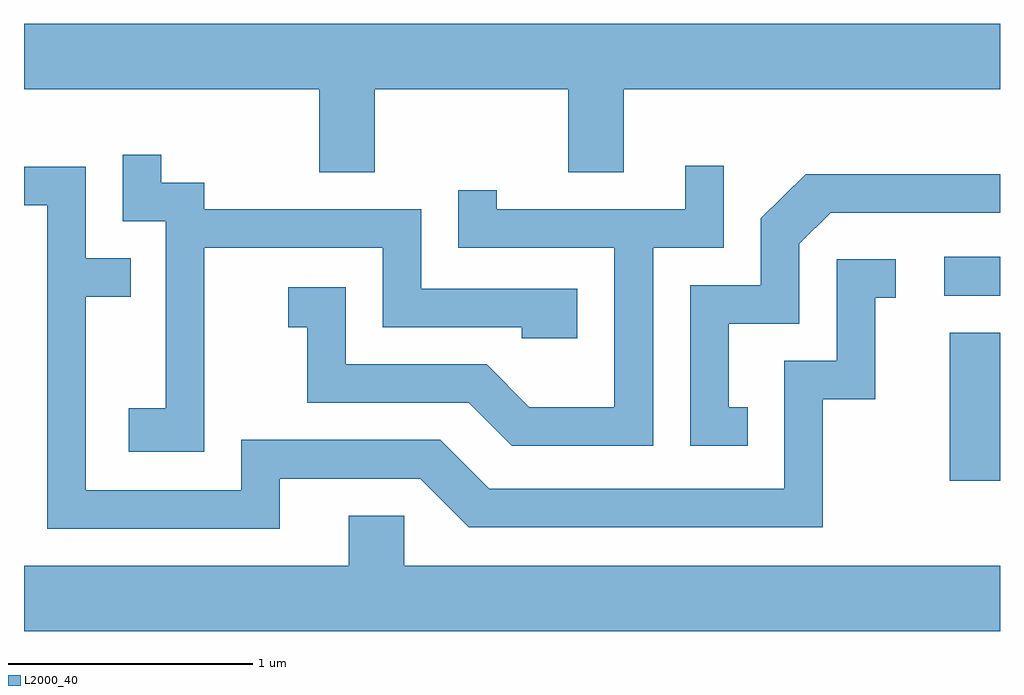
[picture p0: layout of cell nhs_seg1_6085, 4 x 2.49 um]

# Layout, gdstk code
import gdstk
lib = gdstk.Library(unit=1e-6, precision=1e-09)
def R(c, l, rs):  # rectangles x0, y0, x1, y1
    for r in rs: c.add(gdstk.rectangle(r[:2], r[2:], *l))
def P(c, l, *ps):  # polygons
    for p in ps: c.add(gdstk.Polygon(p, *l))
L2000_40 = (2000, 40)

nhs_seg1_6085 = lib.new_cell('nhs_seg1_6085')
R(nhs_seg1_6085, L2000_40, [(371.406,966.791,371.611,967.399), (371.383,967.551,371.611,967.709)])
P(nhs_seg1_6085, L2000_40, [(369.049,968.396),(369.841,968.396),(369.841,968.056),(370.069,968.056),(370.069,968.396),(371.611,968.396),(371.611,968.664),(367.611,968.664),(367.611,968.396),(368.821,968.396),(368.821,968.056),(369.049,968.056)],
  [(368.349,967.746),(369.081,967.746),(369.081,967.421),(369.651,967.421),(369.651,967.376),(369.879,967.376),(369.879,967.579),(369.239,967.579),(369.239,967.904),(368.349,967.904),(368.349,968.014),(368.174,968.014),(368.174,968.128),(368.016,968.128),(368.016,967.856),(368.191,967.856),(368.191,967.089),(368.041,967.089),(368.041,966.911),(368.349,966.911)],
  [(370.189,967.746),(370.479,967.746),(370.479,968.083),(370.321,968.083),(370.321,967.904),(369.549,967.904),(369.549,967.983),(369.391,967.983),(369.391,967.746),(370.031,967.746),(370.031,967.094),(369.682,967.094),(369.507,967.269),(368.929,967.269),(368.929,967.584),(368.693,967.584),(368.693,967.421),(368.771,967.421),(368.771,967.111),(369.434,967.111),(369.609,966.936),(370.189,966.936)],
  [(368.659,966.801),(369.234,966.801),(369.434,966.601),(370.884,966.601),(370.884,967.126),(371.099,967.126),(371.099,967.541),(371.183,967.541),(371.183,967.699),(370.941,967.699),(370.941,967.284),(370.726,967.284),(370.726,966.759),(369.517,966.759),(369.317,966.959),(368.501,966.959),(368.501,966.754),(367.864,966.754),(367.864,967.546),(368.048,967.546),(368.048,967.704),(367.864,967.704),(367.864,968.079),(367.611,968.079),(367.611,967.921),(367.706,967.921),(367.706,966.596),(368.659,966.596)],
  [(370.578,967.094),(370.499,967.094),(370.499,967.436),(370.789,967.436),(370.789,967.764),(370.917,967.891),(371.611,967.891),(371.611,968.049),(370.814,968.049),(370.631,967.867),(370.631,967.594),(370.341,967.594),(370.341,966.936),(370.578,966.936)],
  [(371.611,966.444),(369.169,966.444),(369.169,966.649),(368.941,966.649),(368.941,966.444),(367.611,966.444),(367.611,966.176),(371.611,966.176)])

lib.write_gds('nhs_seg1_6085.gds')
